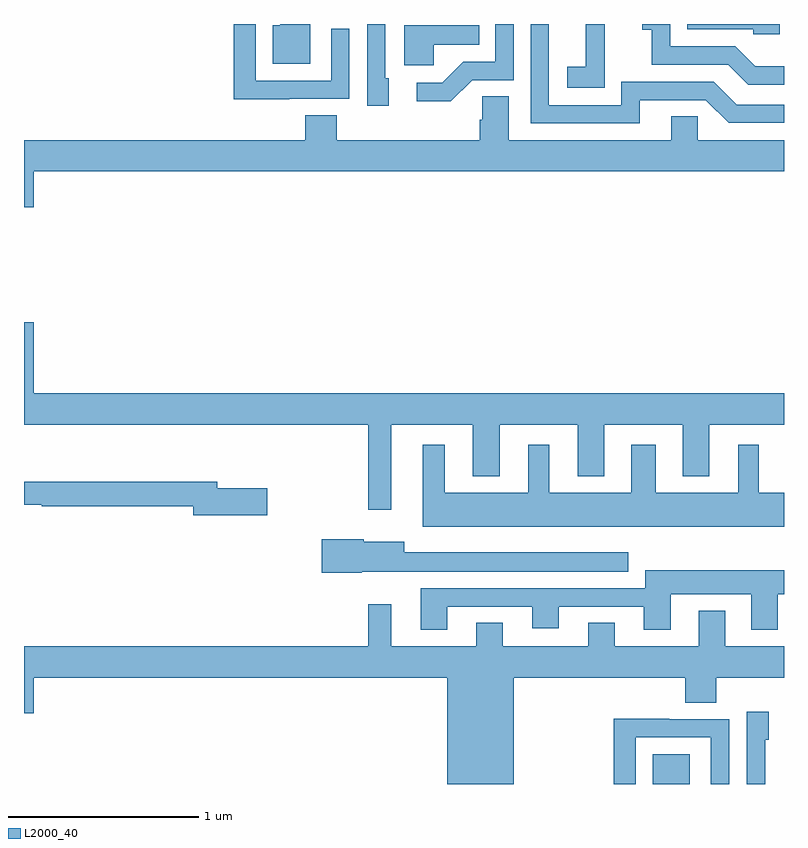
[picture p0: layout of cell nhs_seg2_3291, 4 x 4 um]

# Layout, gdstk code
import gdstk
lib = gdstk.Library(unit=1e-6, precision=1e-09)
def R(c, l, rs):  # rectangles x0, y0, x1, y1
    for r in rs: c.add(gdstk.rectangle(r[:2], r[2:], *l))
def P(c, l, *ps):  # polygons
    for p in ps: c.add(gdstk.Polygon(p, *l))
L2000_40 = (2000, 40)

nhs_seg2_3291 = lib.new_cell('nhs_seg2_3291')
R(nhs_seg2_3291, L2000_40, [(288.308,589.8,288.505,589.957)])
P(nhs_seg2_3291, L2000_40, [(287.358,593.505),(287.577,593.505),(287.577,593.8),(287.481,593.8),(287.481,593.601),(287.312,593.601),(287.201,593.49),(287.067,593.49),(287.067,593.393),(287.245,593.393)],
  [(288.241,593.4),(288.588,593.4),(288.708,593.28),(289,593.28),(289,593.376),(288.75,593.376),(288.63,593.496),(288.144,593.496),(288.144,593.373),(287.763,593.373),(287.763,593.8),(287.667,593.8),(287.667,593.277),(288.241,593.277)],
  [(286.921,593.514),(286.902,593.514),(286.902,593.8),(286.806,593.8),(286.806,593.37),(286.921,593.37)],
  [(289,593.578),(288.848,593.578),(288.744,593.682),(288.402,593.682),(288.402,593.8),(288.255,593.8),(288.255,593.771),(288.304,593.771),(288.304,593.586),(288.707,593.586),(288.812,593.481),(289,593.481)],
  [(288.977,593.8),(288.492,593.8),(288.492,593.772),(288.837,593.772),(288.837,593.745),(288.977,593.745)],
  [(286.507,593.8),(286.349,593.8),(286.349,593.794),(286.31,593.794),(286.31,593.591),(286.507,593.591)],
  [(286.397,593.406),(286.713,593.406),(286.713,593.776),(286.617,593.776),(286.617,593.502),(286.221,593.502),(286.221,593.8),(286.105,593.8),(286.105,593.405),(286.397,593.405)],
  [(288.057,593.671),(288.056,593.671),(288.056,593.8),(287.957,593.8),(287.957,593.575),(287.859,593.575),(287.859,593.465),(288.057,593.465)],
  [(287.157,593.69),(287.396,593.69),(287.396,593.794),(287,593.794),(287,593.582),(287.157,593.582)],
  [(285.052,593.024),(289,593.024),(289,593.188),(288.546,593.188),(288.546,593.315),(288.407,593.315),(288.407,593.188),(287.551,593.188),(287.551,593.42),(287.412,593.42),(287.412,593.297),(287.399,593.297),(287.399,593.188),(286.646,593.188),(286.646,593.321),(286.481,593.321),(286.481,593.188),(285,593.188),(285,592.836),(285.052,592.836)],
  [(286.933,591.692),(287.363,591.692),(287.363,591.419),(287.503,591.419),(287.503,591.692),(287.915,591.692),(287.915,591.419),(288.055,591.419),(288.055,591.692),(288.467,591.692),(288.467,591.419),(288.607,591.419),(288.607,591.692),(289,591.692),(289,591.856),(285.052,591.856),(285.052,592.231),(285,592.231),(285,591.692),(286.812,591.692),(286.812,591.243),(286.933,591.243)],
  [(289,591.334),(288.868,591.334),(288.868,591.586),(288.758,591.586),(288.758,591.334),(288.325,591.334),(288.325,591.586),(288.197,591.586),(288.197,591.334),(287.764,591.334),(287.764,591.586),(287.654,591.586),(287.654,591.334),(287.215,591.334),(287.215,591.586),(287.099,591.586),(287.099,591.155),(289,591.155)],
  [(286.279,591.357),(286.018,591.357),(286.018,591.391),(285,591.391),(285,591.27),(285.094,591.27),(285.094,591.262),(285.89,591.262),(285.89,591.215),(286.279,591.215)],
  [(286.778,590.918),(288.181,590.918),(288.181,591.019),(287.002,591.019),(287.002,591.076),(286.788,591.076),(286.788,591.089),(286.566,591.089),(286.566,590.911),(286.778,590.911)],
  [(287.227,590.733),(287.675,590.733),(287.675,590.621),(287.815,590.621),(287.815,590.733),(288.263,590.733),(288.263,590.613),(288.403,590.613),(288.403,590.798),(288.827,590.798),(288.827,590.613),(288.967,590.613),(288.967,590.798),(289,590.798),(289,590.926),(288.269,590.926),(288.269,590.829),(287.087,590.829),(287.087,590.613),(287.227,590.613)],
  [(288.109,590.648),(287.969,590.648),(287.969,590.524),(287.521,590.524),(287.521,590.648),(287.381,590.648),(287.381,590.524),(286.933,590.524),(286.933,590.746),(286.812,590.746),(286.812,590.524),(285,590.524),(285,590.172),(285.052,590.172),(285.052,590.36),(287.228,590.36),(287.228,589.8),(287.578,589.8),(287.578,590.36),(288.479,590.36),(288.479,590.227),(288.644,590.227),(288.644,590.36),(289,590.36),(289,590.524),(288.691,590.524),(288.691,590.713),(288.551,590.713),(288.551,590.524),(288.109,590.524)],
  [(288.9,590.034),(288.919,590.034),(288.919,590.179),(288.804,590.179),(288.804,589.8),(288.9,589.8)],
  [(288.219,590.046),(288.615,590.046),(288.615,589.8),(288.711,589.8),(288.711,590.142),(288.395,590.142),(288.395,590.144),(288.103,590.144),(288.103,589.8),(288.219,589.8)])

lib.write_gds('nhs_seg2_3291.gds')
